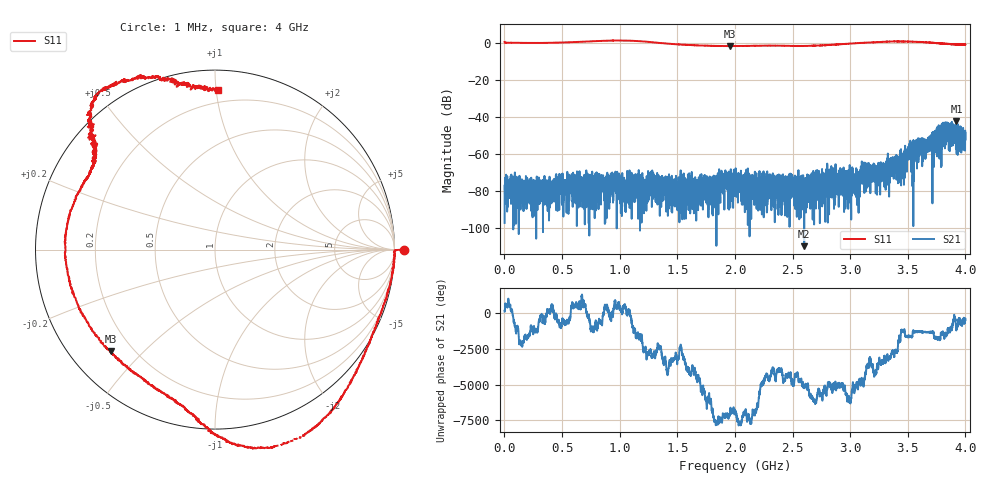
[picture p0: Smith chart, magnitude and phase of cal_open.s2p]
!Created with skrf (http://scikit-rf.org).
# GHz S RI R 50.0
!freq ReS11 ImS11 ReS21 ImS21 ReS12 ImS12 ReS22 ImS22
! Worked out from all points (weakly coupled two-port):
!   4000 points, 1 MHz to 4 GHz, reference 50 ohm
!   highest |S21| = -42.44 dB at 3.922 GHz (marker M1); lowest = -110.1 dB at 2.601 GHz (marker M2)
!   lowest |S11| = -1.8 dB at 1.956 GHz (marker M3), VSWR 9.53, Z = 6.1 - j20 ohm
!   |S11| at or under -10 dB: nowhere
!   S12 and S22 are empty: the file has one direction only
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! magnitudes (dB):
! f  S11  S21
! 1 MHz  0.5  -97.5
! 668 MHz  0.5  -84.4
! 965 MHz  1.2  -70.4
! 1.043 GHz  1.2  -81.4
! 1.334 GHz  0.0  -79.7
! 1.956 GHz  -1.8  -73.4
! 2.001 GHz  -1.8  -83.1
! 2.601 GHz  -1.7  -110.1
! 2.667 GHz  -1.7  -74.2
! 2.834 GHz  -1.1  -71.0
! 3.06 GHz  -0.2  -70.6
! 3.115 GHz  0.0  -65.8
! 3.241 GHz  0.4  -75.8
! 3.334 GHz  0.6  -63.0
! 3.433 GHz  0.7  -62.1
! 3.51 GHz  0.6  -56.0
! 3.551 GHz  0.6  -59.9
! 3.58 GHz  0.5  -68.1
! 3.644 GHz  0.3  -52.4
! 3.829 GHz  -0.6  -44.0
! 3.922 GHz  -0.7  -42.4
! 4 GHz  -1.0  -48.8
